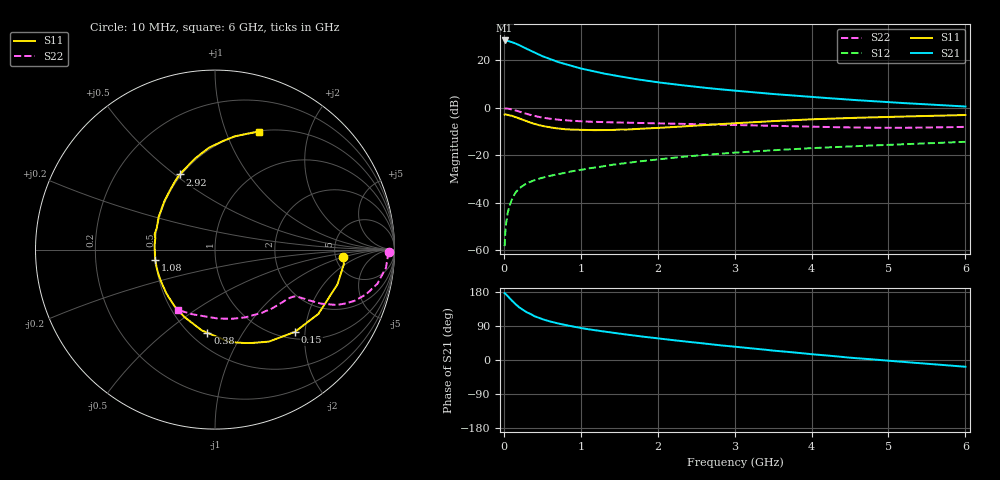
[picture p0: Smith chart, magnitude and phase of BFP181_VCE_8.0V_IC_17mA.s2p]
! Infineon Technologies  Discrete & RF Semiconductors
! BFP181
! VCE = 8.0 V,  IC =  17 mA
! Common Emitter S-Parameters:  Jan 2016
# GHz  S  MA  R  50
!  f  S11  S21  S12  S22
! GHz  MAG  ANG  MAG  ANG  MAG  ANG  MAG  ANG
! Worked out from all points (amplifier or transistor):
!   210 points, 10 MHz to 6 GHz, reference 50 ohm
!   highest |S21| = 28.4 dB at 10 MHz (marker M1)
!   |S21| within 3 dB of that: start of sweep to 263.8 MHz
!   unconditionally stable (mu >= 1): 997.2 MHz to end of sweep
!   at 185 MHz: K = 0.33, MSG = 30.6 dB, |S12| = -34.6 dB
!   at 1.52 GHz: K = 1.11, MAG = 16.4 dB, |S12| = -23.6 dB
!   at 6 GHz: K = 1.00, MAG = 7.1 dB, |S12| = -14.4 dB
!   S11 on the Smith chart (normalised r, x): 10 MHz: 5.85, -0.92; 150 MHz: 1.14, -1.77; 380 MHz: 0.60, -0.71; 1.08 GHz: 0.50, -0.06; 2.92 GHz: 0.49, +0.52; 6 GHz: 0.51, +1.31
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0.01  0.7142 -3.1  26.17 176.4  0.0012 69.5  0.9673 -0.8
0.02  0.7224 -6.4  26.03 175.0  0.0025 80.4  0.9637 -2.2
0.05  0.7094 -15.8  25.69 168.2  0.006 85.6  0.9577 -6.1
0.1  0.6786 -31.8  24.28 157.6  0.0111 73.7  0.9245 -11.9
0.15  0.6391 -45.8  22.69 147.6  0.016 68.6  0.8779 -16.5
0.2  0.5943 -59.6  20.96 138.9  0.0199 63.9  0.8275 -20.2
0.24  0.5602 -68.2  19.36 133.2  0.0221 61.6  0.7886 -22.3
0.3  0.5209 -81.2  17.37 125.9  0.0256 57.7  0.7364 -24.7
0.38  0.4652 -95.2  15.04 117.8  0.0288 55.8  0.6807 -26.4
0.4  0.4563 -99.2  14.51 115.4  0.0296 55.4  0.6669 -26.9
0.5  0.413 -114.2  12.22 107.6  0.0333 53.4  0.6173 -27.9
0.6  0.3873 -125.8  10.63 101.7  0.0366 52.8  0.5834 -28.6
0.8  0.3509 -147.6  8.274 92.1  0.0424 52.9  0.5412 -29.4
1.02  0.3389 -165.4  6.611 83.8  0.0493 53.3  0.5145 -30.5
1.08  0.3373 -170.3  6.285 81.7  0.0516 53.2  0.5095 -31.0
1.5  0.3472 165.5  4.585 69.6  0.0651 52.6  0.4864 -34.8
2.02  0.3758 142.0  3.401 56.7  0.082 50.2  0.4673 -41.3
2.92  0.4618 115.0  2.352 36.7  0.1102 43.8  0.4331 -55.4
3.1  0.4791 110.6  2.215 33.2  0.1154 42.4  0.4253 -58.5
4.1  0.575 91.9  1.641 13.7  0.1427 34.2  0.393 -78.5
5.1  0.6455 79.0  1.278 -3.5  0.1672 26.7  0.3766 -101.0
6  0.7009 69.7  1.059 -17.8  0.1904 19.6  0.3946 -121.9
